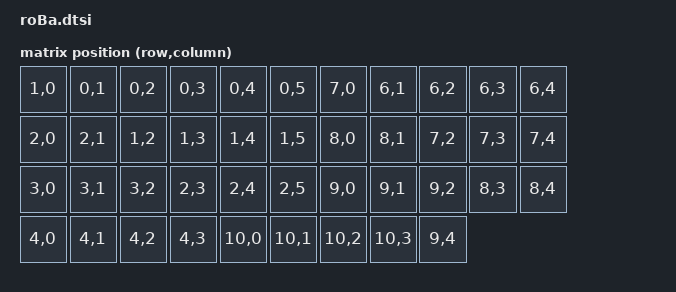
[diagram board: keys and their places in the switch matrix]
#include <dt-bindings/zmk/matrix_transform.h>
#include <dt-bindings/input/input-event-codes.h>

/ {
    chosen {
        zmk,kscan = &kscan0;
        zmk,matrix-transform = &default_transform;
    };

    kscan0: kscan {
        compatible = "zmk,kscan-gpio-charlieplex";
        wakeup-source;

        /* XIAO BLE D0 (P0.02) を直接指定 */
        interrupt-gpios = <&gpio0 2 0>; 

        gpios
            = <&gpio0 3 0>  /* D1 (P0.03) */
            , <&gpio0 28 0> /* D2 (P0.28) */
            , <&gpio0 29 0> /* D3 (P0.29) */
            , <&gpio1 11 0> /* D6 (P1.11) */
            , <&gpio0 11 0> /* D7 (P0.11) */
            , <&gpio1 12 0> /* D8 (P1.12) */
            ;
    };

    default_transform: matrix_transform {
        compatible = "zmk,matrix-transform";
        rows = <10>;
        columns = <6>;
        map = <
            RC(1,0) RC(0,1) RC(0,2) RC(0,3) RC(0,4) RC(0,5)  RC( 7,0) RC( 6,1) RC( 6,2) RC( 6,3) RC(6,4)
            RC(2,0) RC(2,1) RC(1,2) RC(1,3) RC(1,4) RC(1,5)  RC( 8,0) RC( 8,1) RC( 7,2) RC( 7,3) RC(7,4)
            RC(3,0) RC(3,1) RC(3,2) RC(2,3) RC(2,4) RC(2,5)  RC( 9,0) RC( 9,1) RC( 9,2) RC( 8,3) RC(8,4)
            RC(4,0) RC(4,1) RC(4,2) RC(4,3) RC(10,0) RC(10,1) RC(10,2) RC(10,3) RC(9,4)
        >;
    };
};
